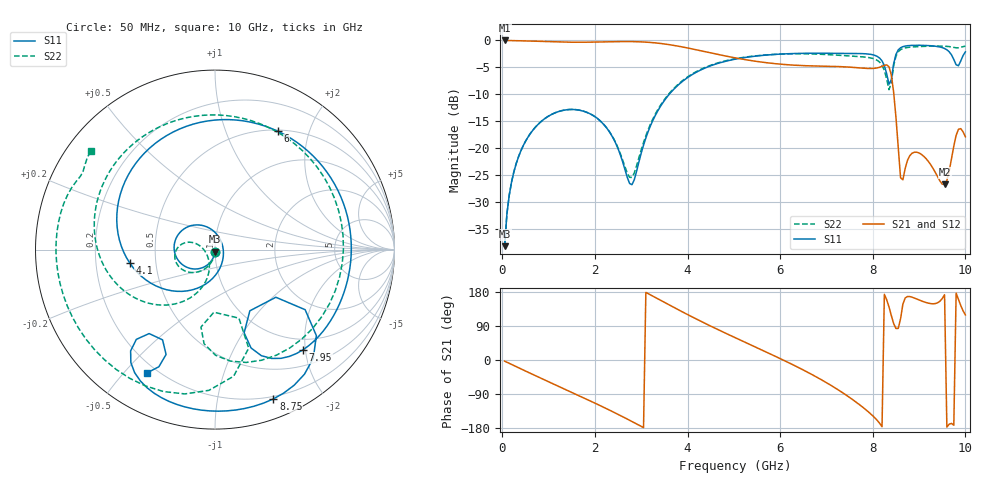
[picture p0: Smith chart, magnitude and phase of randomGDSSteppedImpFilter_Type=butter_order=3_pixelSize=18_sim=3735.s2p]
! freq	dB(S11)	phase(S11)	dB(S12)	phase(S12)
!  dB(S21)	phase(S21)	dB(S22)	phase(S22)
!S-par simulation data
#  GHz  S  DB  R 50
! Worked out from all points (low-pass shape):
!   200 points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, 50 MHz to 10 GHz, reference 50 ohm
!   highest |S21| = -0.01 dB at 50 MHz (marker M1); lowest = -26.7 dB at 9.55 GHz (marker M2)
!   |S21| within 3 dB of the highest: start of sweep to 4.887 GHz
!   lowest |S11| = -38.2 dB at 50 MHz (marker M3), VSWR 1.02, Z = 49.9 - j1.23 ohm
!   |S11| at or under -10 dB: start of sweep to 3.605 GHz
!   |S22| runs from -38.2 to -1.0 dB; largest |S21 - S12| = 0
!   S11 on the Smith chart (normalised r, x): 50 MHz: 1.00, -0.02; 4.1 GHz: 0.35, -0.07; 6 GHz: 0.52, +1.54; 7.95 GHz: 0.78, -1.96; 8.75 GHz: 0.18, -1.45; 10 GHz: 0.16, -0.58
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0.05  -38.20 -92.2  -0.01 -3.0  -0.01 -3.0  -38.19 -91.6
0.2  -26.29 -103.0  -0.03 -11.7  -0.03 -11.7  -26.28 -100.5
0.5  -18.75 -122.5  -0.10 -29.1  -0.10 -29.1  -18.74 -116.4
1.75  -13.13 156.9  -0.34 -99.5  -0.34 -99.5  -13.13 -176.6
2.3  -16.80 114.3  -0.25 -131.4  -0.25 -131.4  -16.76 163.6
2.8  -26.78 1.1  -0.22 -162.3  -0.22 -162.3  -25.43 -145.7
3.4  -12.46 -114.9  -0.55 158.7  -0.55 158.7  -12.25 -111.0
4.1  -6.34 -171.3  -1.58 113.7  -1.58 113.7  -6.23 -143.2
5.05  -3.45 122.8  -3.27 57.7  -3.27 57.7  -3.37 171.8
6  -2.54 61.9  -4.40 3.7  -4.40 3.7  -2.54 125.3
6.7  -2.38 19.8  -4.74 -39.2  -4.74 -39.2  -2.52 81.7
7.45  -2.42 -21.2  -4.93 -94.6  -4.93 -94.6  -2.85 11.9
7.95  -2.58 -48.6  -5.22 -141.6  -5.22 -141.6  -3.24 -52.7
8.15  -3.30 -62.5  -4.98 -167.3  -4.98 -167.3  -4.05 -82.1
8.35  -8.13 -60.3  -4.90 140.3  -4.90 140.3  -9.15 -91.0
8.45  -4.38 -33.7  -9.56 96.4  -9.56 96.4  -4.72 -71.1
8.6  -1.36 -54.3  -25.49 108.7  -25.49 108.7  -1.71 -101.8
8.75  -0.98 -68.7  -22.25 167.6  -22.25 167.6  -1.31 -123.6
9.1  -0.92 -91.8  -21.50 153.6  -21.50 153.6  -1.10 -159.1
9.55  -1.50 -119.6  -26.74 172.1  -26.74 172.1  -1.08 166.6
9.8  -4.52 -128.1  -17.62 176.4  -17.62 176.4  -1.37 151.4
10  -2.12 -118.8  -17.88 118.9  -17.88 118.9  -1.06 141.6
